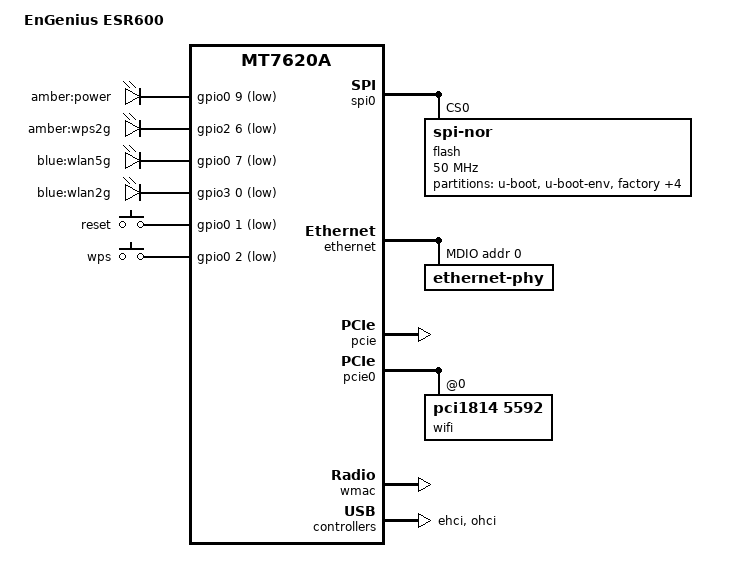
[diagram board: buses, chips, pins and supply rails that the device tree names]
// SPDX-License-Identifier: GPL-2.0-or-later OR MIT

#include "mt7620a.dtsi"

#include <dt-bindings/gpio/gpio.h>
#include <dt-bindings/input/input.h>

/ {
	compatible = "engenius,esr600", "ralink,mt7620a-soc";
	model = "EnGenius ESR600";

	chosen {
		bootargs = "console=ttyS0,115200";
	};

	aliases {
		led-boot = &led_power;
		led-failsafe = &led_power;
		led-running = &led_power;
		led-upgrade = &led_power;
	};

	leds {
		compatible = "gpio-leds";

		led_power: power {
			label = "amber:power";
			gpios = <&gpio0 9 GPIO_ACTIVE_LOW>;
		};

		wps2g {
			label = "amber:wps2g";
			gpios = <&gpio2 6 GPIO_ACTIVE_LOW>;
		};

		wlan5g {
			label = "blue:wlan5g";
			gpios = <&gpio0 7 GPIO_ACTIVE_LOW>;
		};

		wlan2g {
			label = "blue:wlan2g";
			gpios = <&gpio3 0 GPIO_ACTIVE_LOW>;
		};
	};

	keys {
		compatible = "gpio-keys";

		reset {
			label = "reset";
			gpios = <&gpio0 1 GPIO_ACTIVE_LOW>;
			linux,code = <KEY_RESTART>;
			debounce-interval = <60>;
		};

		wps {
			label = "wps";
			gpios = <&gpio0 2 GPIO_ACTIVE_LOW>;
			linux,code = <KEY_WPS_BUTTON>;
			debounce-interval = <60>;
		};
	};
};

&gpio2 {
	status = "okay";
};

&gpio3 {
	status = "okay";
};

&spi0 {
	status = "okay";

	flash@0 {
		compatible = "jedec,spi-nor";
		reg = <0>;
		spi-max-frequency = <50000000>;
		m25p,fast-read;

		partitions {
			compatible = "fixed-partitions";
			#address-cells = <1>;
			#size-cells = <1>;

			partition@0 {
				label = "u-boot";
				reg = <0x0 0x30000>;
				read-only;
			};

			partition@30000 {
				label = "u-boot-env";
				reg = <0x30000 0x10000>;
				read-only;
			};

			factory: partition@40000 {
				label = "factory";
				reg = <0x40000 0x10000>;
				read-only;
			};

			iNIC_rf: partition@50000 {
				label = "iNIC_rf";
				reg = <0x50000 0x10000>;
				read-only;
			};

			partition@60000 {
				label = "firmware";
				reg = <0x60000 0xf40000>;
				compatible = "denx,uimage";
			};

			partition@fa0000 {
				label = "backup";
				reg = <0xfa0000 0x10000>;
				read-only;
			};

			partition@fb0000 {
				label = "storage";
				reg = <0xfb0000 0x50000>;
				read-only;
			};
		};
	};
};

&ethernet {
	pinctrl-names = "default";
	pinctrl-0 = <&rgmii1_pins &mdio_pins>;

	mtd-mac-address = <&iNIC_rf 0x4>;

	port@5 {
		status = "okay";
		phy-mode = "rgmii";
		mediatek,fixed-link = <1000 1 1 1>;
	};

	mdio-bus {
		status = "okay";
		mediatek,mdio-mode;

		ethernet-phy@0 {
			reg = <0>;
			phy-mode = "rgmii";
			qca,ar8327-initvals = <
				0x10 0x40000000 /* POWER-ON STRAPPING */
				0x04 0x07600000 /* PORT0 PAD MODE CTRL */
				0x7c 0x0000007e /* PORT0 STATUS */
				0x0c 0x05600000 /* PORT6 PAD MODE CTRL */
				0x94 0x0000007e /* PORT6 STATUS */
				>;
		};
	};
};

&state_default {
	gpio {
		groups = "i2c", "uartf", "nd_sd", "wled";
		function = "gpio";
	};
};

&pcie {
	status = "okay";
};

&pcie0 {
	wifi@0,0 {
		compatible = "pci1814,5592";
		reg = <0x0 0 0 0 0>;
		ralink,mtd-eeprom = <&factory 0x0>;
	};
};

&wmac {
	ralink,mtd-eeprom = <&iNIC_rf 0x0>;
};

&ehci {
	status = "okay";
};

&ohci {
	status = "okay";
};
